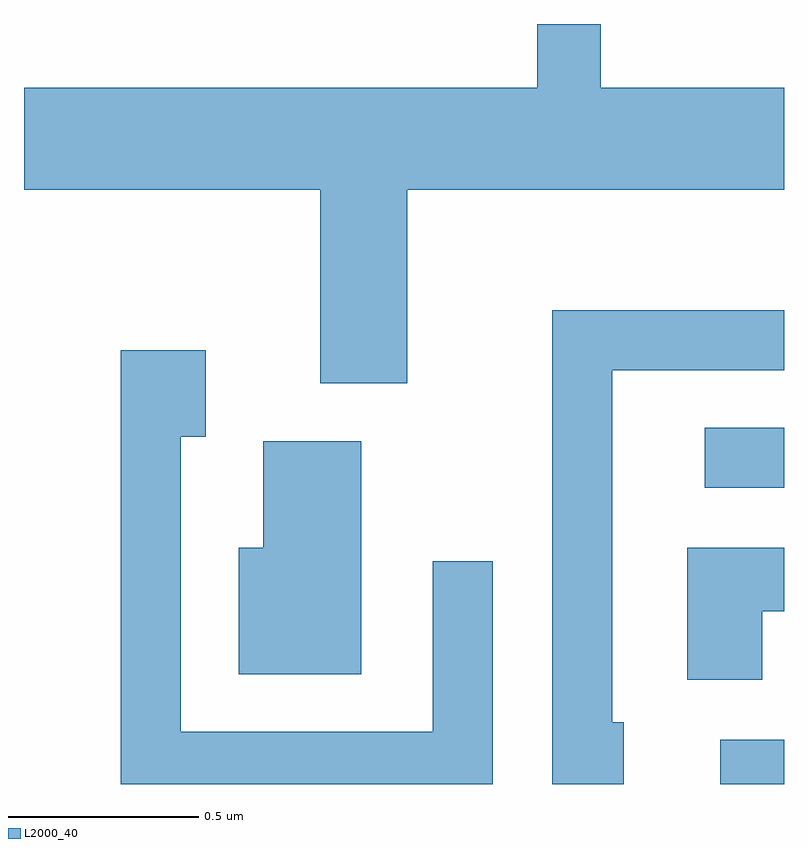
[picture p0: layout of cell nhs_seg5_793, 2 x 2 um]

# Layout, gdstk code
import gdstk
lib = gdstk.Library(unit=1e-6, precision=1e-09)
def R(c, l, rs):  # rectangles x0, y0, x1, y1
    for r in rs: c.add(gdstk.rectangle(r[:2], r[2:], *l))
def P(c, l, *ps):  # polygons
    for p in ps: c.add(gdstk.Polygon(p, *l))
L2000_40 = (2000, 40)

nhs_seg5_793 = lib.new_cell('nhs_seg5_793')
R(nhs_seg5_793, L2000_40, [(192.443,1504.072,192.611,1504.189), (192.403,1504.851,192.611,1505.009)])
P(nhs_seg5_793, L2000_40, [(191.619,1505.636),(192.611,1505.636),(192.611,1505.904),(192.129,1505.904),(192.129,1506.072),(191.961,1506.072),(191.961,1505.904),(190.611,1505.904),(190.611,1505.636),(191.391,1505.636),(191.391,1505.126),(191.619,1505.126)],
  [(192.189,1504.234),(192.159,1504.234),(192.159,1505.161),(192.611,1505.161),(192.611,1505.319),(192.001,1505.319),(192.001,1504.072),(192.189,1504.072)],
  [(191.844,1504.658),(191.686,1504.658),(191.686,1504.209),(191.024,1504.209),(191.024,1504.986),(191.089,1504.986),(191.089,1505.214),(190.866,1505.214),(190.866,1504.072),(191.844,1504.072)],
  [(191.499,1504.974),(191.241,1504.974),(191.241,1504.694),(191.176,1504.694),(191.176,1504.361),(191.499,1504.361)],
  [(192.554,1504.526),(192.611,1504.526),(192.611,1504.694),(192.356,1504.694),(192.356,1504.346),(192.554,1504.346)])

lib.write_gds('nhs_seg5_793.gds')
